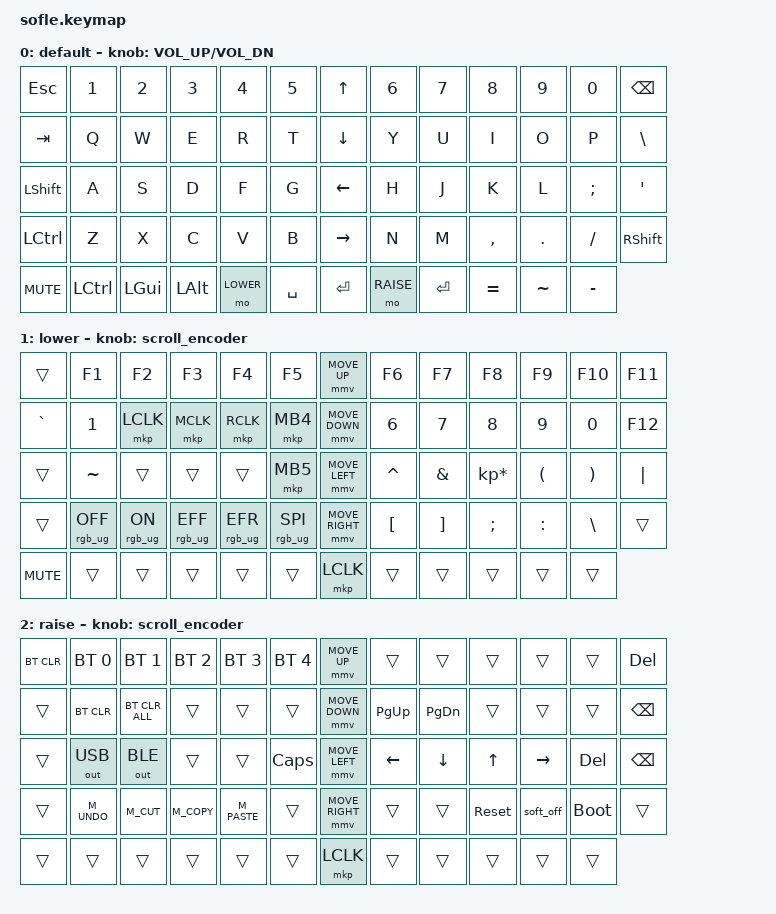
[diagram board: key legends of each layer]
#include <behaviors/mouse_keys.dtsi>
#include <behaviors.dtsi>
#include <dt-bindings/zmk/bt.h>
#include <dt-bindings/zmk/keys.h>
#include <dt-bindings/zmk/mouse.h>
#include <dt-bindings/zmk/outputs.h>
#include <dt-bindings/zmk/rgb.h>

#define ZMK_MOUSE_DEFAULT_MOVE_VAL 1200  // 600
#define ZMK_MOUSE_DEFAULT_SCRL_VAL 20    // 10
#define U_MS_U &mmv MOVE_UP
#define U_MS_D &mmv MOVE_DOWN
#define U_MS_L &mmv MOVE_LEFT
#define U_MS_R &mmv MOVE_RIGHT
#define ZMK_MOUSE_DEFAULT_MOVE_VAL 1200  //  600
#define ZMK_MOUSE_DEFAULT_SCRL_VAL 20    // 10

#define BASE 0
#define LOWER 1
#define RAISE 2
#define ADJUST 3


/ {
    behaviors {
        mmv {
            acceleration-exponent = <1>;      // 1
            time-to-max-speed-ms = <900>;    // 40
            delay-ms = <0>;                   // 0
        };

        msc {
            acceleration-exponent = <1>;      // 0
            time-to-max-speed-ms = <400>;      // 500
            delay-ms = <0>;                   //   10
        };
    };

    scroll_encoder: scroll_encoder {
        compatible = "zmk,behavior-sensor-rotate";
        #sensor-binding-cells = <0>;
        bindings = <&msc SCRL_DOWN>, <&msc SCRL_UP>;

        tap-ms = <30>;
    };

    / {
    macros {
        M_UNDO: M_UNDO {
            compatible = "zmk,behavior-macro";
            #binding-cells = <0>;
            bindings
                = <&macro_press &kp LGUI>
                , <&macro_tap &kp Z>
                , <&macro_release &kp LGUI>
                ;
        };
        M_CUT: M_CUT {
            compatible = "zmk,behavior-macro";
            #binding-cells = <0>;
            bindings
                = <&macro_press &kp LGUI>
                , <&macro_tap &kp X>
                , <&macro_release &kp LGUI>
                ;
        };
        M_COPY: M_COPY {
            compatible = "zmk,behavior-macro";
            #binding-cells = <0>;
            bindings
                = <&macro_press &kp LGUI>
                , <&macro_tap &kp C>
                , <&macro_release &kp LGUI>
                ;
        };
        M_PASTE: M_PASTE {
            compatible = "zmk,behavior-macro";
            #binding-cells = <0>;
            bindings
                = <&macro_press &kp LGUI>
                , <&macro_tap &kp V>
                , <&macro_release &kp LGUI>
                ;
        };
    };
};

/ {

    
   // Activate ADJUST layer by pressing raise and lower
    conditional_layers {
        compatible = "zmk,conditional-layers";
        adjust_layer {
            if-layers = <LOWER RAISE>;
            then-layer = <ADJUST>;
        };
    };

    keymap {
        compatible = "zmk,keymap";

        default_layer {
            display-name = "default";
// ------------------------------------------------------------------------------------------------------------
// |  ESC  |  1  |  2  |  3   |  4   |  5   |                   |  6   |  7    |  8    |  9   |   0   |  -    |
// |   `   |  Q  |  W  |  E   |  R   |  T   |                   |  Y   |  U    |  I    |  O   |   P   | BKSPC |
// |  SHIFT  |  A  |  S  |  D   |  F   |  G   |                   |  H   |  J    |  K    |  L   |   ;   |   '   |
// | CTRL |  Z  |  X  |  C   |  V   |  B   |  MUTE  |  | PLAY_PAUSE |  N   |  M    |  ,    |  .   |   /   | SHIFT |
//               | CTRL | ALT  | GUI | LOWER|  SPACE |  | ENTER | RAISE| CTRL  | ALT   | GUI  |
            bindings = <
&kp ESC     &kp N1     &kp N2        &kp N3        &kp N4  &kp N5               &kp UP_ARROW     &kp N6     &kp N7     &kp N8     &kp N9           &kp N0      &kp BACKSPACE
&kp TAB     &kp Q      &kp W         &kp E         &kp R   &kp T                &kp DOWN_ARROW   &kp Y      &kp U      &kp I      &kp O            &kp P       &kp BSLH
&kp LSHFT   &kp A      &kp S         &kp D         &kp F   &kp G                &kp LEFT_ARROW   &kp H      &kp J      &kp K      &kp L            &kp SEMI    &kp SQT
&kp LCTRL   &kp Z      &kp X         &kp C         &kp V   &kp B                &kp RIGHT_ARROW  &kp N      &kp M      &kp COMMA  &kp DOT          &kp FSLH    &kp RSHFT
&kp C_MUTE  &kp LCTRL  &kp LEFT_GUI  &kp LEFT_ALT  &mo LOWER &kp SPACE            &kp ENTER        &mo RAISE  &kp ENTER  &kp EQUAL   &kp TILDE  &kp MINUS
            >;

            sensor-bindings = <&inc_dec_kp C_VOLUME_UP C_VOL_DN>;
        };

        lower_layer {
            display-name = "lower";
// ------------------------------------------------------------------------------------------------------------
// |       |  F1 |  F2 |  F3  |  F4  |  F5  |                   |  F6  |  F7   |  F8   |  F9  |  F10  |  F11  |
// |   `   |  1  |  2  |  3   |  4   |  5   |                   |  6   |  7    |  8    |  9   |   0   |  F12  |
// |       |  !  |  @  |  #   |  $   |  %   |                   |  ^   |  &    |  *    |  (   |   )   |   |   |
// |  CLCK |  =  |  -  |  +   |  {   |  }   |        |  | MOUSE |  [   |  ]    |  ;    |  :   |   \   | CLCK  |
//               |     |      |      |      |        |  |       |      |       |       |      |
            bindings = <
&trans      &kp F1           &kp F2          &kp F3           &kp F4           &kp F5                  &mmv MOVE_UP     &kp F6           &kp F7           &kp F8      &kp F9     &kp F10           &kp F11
&kp GRAVE   &kp N1        &mkp LCLK       &mkp MCLK        &mkp RCLK        &mkp MB4                &mmv MOVE_DOWN      &kp N6           &kp N7           &kp N8      &kp N9     &kp N0            &kp F12
&trans      &kp TILDE        &trans          &trans           &trans           &mkp MB5                &mmv MOVE_LEFT   &kp CARET        &kp AMPS         &kp KP_MULTIPLY   &kp LPAR  &kp RPAR     &kp PIPE
&trans      &rgb_ug RGB_OFF  &rgb_ug RGB_ON  &rgb_ug RGB_EFF  &rgb_ug RGB_EFR  &rgb_ug RGB_SPI         &mmv MOVE_RIGHT  &kp LBKT         &kp RBKT &kp SEMI        &kp COLON      &kp BSLH            &trans
&kp C_MUTE  &trans           &trans          &trans           &trans           &trans                  &mkp LCLK        &trans           &trans           &trans      &trans     &trans
            >;

            sensor-bindings = <&scroll_encoder>;
        };

        raise_layer {
            display-name = "raise";
// ------------------------------------------------------------------------------------------------------------
// | BTCLR | BT1  | BT2  |  BT3  |  BT4  |  BT5 |                |      |      |       |      |       |  DEL  |
// |       | INS  | PSCR | GUI   |       |      |                | PGUP |PGDWN |       |      |       | BKSPC |
// |       | ALT  | CTRL | SHIFT |       | CAPS |                | <-   |   v  |   ^   |  ->  |  DEL  | BKSPC |
// |  CLCK | UNDO | CUT  | COPY  | PASTE |      |      |  |      |      |      |       |      |       | CLCK  |
//                |      |       |       |      |      |  |      |      |      |       |      |
            bindings = <
&bt BT_CLR &bt BT_SEL 0  &bt BT_SEL 1    &bt BT_SEL 2  &bt BT_SEL 3  &bt BT_SEL 4               &mmv MOVE_UP     &trans    &trans    &trans   &trans    &trans  &kp DEL
&trans     &bt BT_CLR    &bt BT_CLR_ALL  &trans        &trans        &trans                     &mmv MOVE_DOWN   &kp PG_UP &kp PG_DN &trans   &trans    &trans  &kp BSPC
&trans     &out OUT_USB  &out OUT_BLE    &trans        &trans        &kp CLCK                   &mmv MOVE_LEFT   &kp LEFT  &kp DOWN  &kp UP   &kp RIGHT &kp DEL &kp BSPC
&trans     &M_UNDO       &M_CUT          &M_COPY       &M_PASTE      &trans                     &mmv MOVE_RIGHT  &trans  &trans  &sys_reset  &soft_off  &bootloader  &trans
&trans     &trans        &trans          &trans        &trans        &trans                     &mkp LCLK        &trans  &trans  &trans      &trans     &trans
            >;

            sensor-bindings = <&scroll_encoder>;
        };
    };
};

        adjust_layer {
            display-name = "adjust";
// ----------------------------------------------------------------------------------------------------------------------------
// | BTCLR  |  BT1    |  BT2    |   BT3   |   BT4   |   BT5   |                  |      |      |       |      |       |       |
// | EXTPWR | RGB_HUD | RGB_HUI | RGB_SAD | RGB_SAI | RGB_EFF |                  |      |      |       |      |       |       |
// |        | RGB_BRD | RGB_BRI |         |         |         |                  |      |      |       |      |       |       |
// |        |         |         |         |         |         | RGB_TOG | |      |      |      |       |      |       |       |
//                    |         |         |         |         |         | |      |      |      |       |      |
            bindings = <
&bt BT_CLR        &bt BT_SEL 0    &bt BT_SEL 1    &bt BT_SEL 2    &bt BT_SEL 3    &bt BT_SEL 4              &mmv MOVE_UP     &none &none &none &none &none &none
&ext_power EP_TOG &rgb_ug RGB_HUD &rgb_ug RGB_HUI &rgb_ug RGB_SAD &rgb_ug RGB_SAI &rgb_ug RGB_EFF           &mmv MOVE_DOWN   &none &none &none &none &none &none
&none             &rgb_ug RGB_BRD &rgb_ug RGB_BRI &none           &none           &none                     &mmv MOVE_LEFT   &none &none &none &none &none &none
&trans     &sys_reset    &trans          &bootloader   &trans        &trans                                 &mmv MOVE_RIGHT  &none &none &none &none &none &none
&trans     &trans        &trans          &trans        &trans        &trans                                 &mkp LCLK        &none &none &none &none &none
            >;

            sensor-bindings = <&scroll_encoder>;
        };
    };
};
